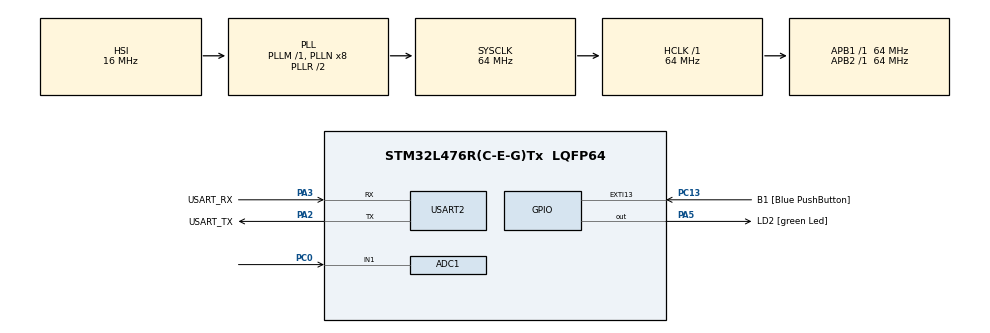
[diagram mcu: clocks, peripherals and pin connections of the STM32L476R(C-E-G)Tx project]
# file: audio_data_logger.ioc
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ADC1.Channel-0\#ChannelRegularConversion=ADC_CHANNEL_1
ADC1.ExternalTrigConv=ADC_EXTERNALTRIG_T2_TRGO
ADC1.ExternalTrigConvEdge=ADC_EXTERNALTRIGCONVEDGE_FALLING
ADC1.NbrOfConversionFlag=1
ADC1.OffsetNumber-0\#ChannelRegularConversion=ADC_OFFSET_NONE
ADC1.Rank-0\#ChannelRegularConversion=1
ADC1.Resolution=ADC_RESOLUTION_10B
ADC1.SamplingTime-0\#ChannelRegularConversion=ADC_SAMPLETIME_2CYCLES_5
ADC1.master=1
Mcu.Family=STM32L4
Mcu.Name=STM32L476R(C-E-G)Tx
Mcu.Package=LQFP64
NVIC.ADC1_2_IRQn=true\:0\:0\:false\:false\:true\:true\:true\:true
NVIC.PriorityGroup=NVIC_PRIORITYGROUP_4
PA13\ (JTMS-SWDIO).GPIO_Label=TMS
PA13\ (JTMS-SWDIO).Mode=Serial_Wire
PA13\ (JTMS-SWDIO).Signal=SYS_JTMS-SWDIO
PA14\ (JTCK-SWCLK).GPIO_Label=TCK
PA14\ (JTCK-SWCLK).Mode=Serial_Wire
PA14\ (JTCK-SWCLK).Signal=SYS_JTCK-SWCLK
PA2.GPIO_Label=USART_TX
PA2.GPIO_Mode=GPIO_MODE_AF_PP
PA2.GPIO_PuPd=GPIO_NOPULL
PA2.GPIO_Speed=GPIO_SPEED_FREQ_VERY_HIGH
PA2.Mode=Asynchronous
PA2.Signal=USART2_TX
PA3.GPIO_Label=USART_RX
PA3.GPIO_Mode=GPIO_MODE_AF_PP
PA3.GPIO_PuPd=GPIO_NOPULL
PA3.GPIO_Speed=GPIO_SPEED_FREQ_VERY_HIGH
PA3.Mode=Asynchronous
PA3.Signal=USART2_RX
PA5.GPIO_Label=LD2 [green Led]
PA5.GPIO_ModeDefaultOutputPP=GPIO_MODE_OUTPUT_PP
PA5.GPIO_PuPd=GPIO_NOPULL
PA5.GPIO_Speed=GPIO_SPEED_FREQ_LOW
PA5.Signal=GPIO_Output
PB3\ (JTDO-TRACESWO).GPIO_Label=SWO
PB3\ (JTDO-TRACESWO).Signal=SYS_JTDO-SWO
PC0.Signal=ADCx_IN1
PC13.GPIO_Label=B1 [Blue PushButton]
PC13.GPIO_ModeDefaultEXTI=GPIO_MODE_IT_FALLING
PC13.GPIO_PuPd=GPIO_NOPULL
PC13.Signal=GPXTI13
PC14-OSC32_IN\ (PC14).Mode=LSE-External-Oscillator
PC14-OSC32_IN\ (PC14).Signal=RCC_OSC32_IN
PC15-OSC32_OUT\ (PC15).Mode=LSE-External-Oscillator
PC15-OSC32_OUT\ (PC15).Signal=RCC_OSC32_OUT
PH0-OSC_IN\ (PH0).Signal=RCC_OSC_IN
PH1-OSC_OUT\ (PH1).Signal=RCC_OSC_OUT
ProjectManager.HeapSize=0x200
ProjectManager.StackSize=0x400
ProjectManager.TargetToolchain=STM32CubeIDE
RCC.ADCFreq_Value=64000000
RCC.AHBFreq_Value=64000000
RCC.APB1Freq_Value=64000000
RCC.APB1TimFreq_Value=64000000
RCC.APB2Freq_Value=64000000
RCC.APB2TimFreq_Value=64000000
RCC.CortexFreq_Value=64000000
RCC.HCLKFreq_Value=64000000
RCC.HSE_VALUE=8000000
RCC.HSI_VALUE=16000000
RCC.MSI_VALUE=4000000
RCC.PLLSourceVirtual=RCC_PLLSOURCE_HSI
RCC.PREFETCH_ENABLE=1
RCC.SYSCLKFreq_VALUE=64000000
RCC.SYSCLKSource=RCC_SYSCLKSOURCE_PLLCLK
RCC.USBFreq_Value=64000000
RCC.VCOOutputFreq_Value=128000000
SH.ADCx_IN1.0=ADC1_IN1,IN1-Single-Ended
TIM2.Period=999
TIM2.Prescaler=1
TIM2.TIM_MasterOutputTrigger=TIM_TRGO_UPDATE
USART2.VirtualMode-Asynchronous=VM_ASYNC
VP_TIM2_VS_ClockSourceINT.Mode=Internal
board=NUCLEO-L476RG

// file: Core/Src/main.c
/* USER CODE BEGIN Header */
/**
  ******************************************************************************
  * @file           : main.c
  * @brief          : Main program body
  ******************************************************************************
  * @attention
  *
  * Copyright (c) 2024 STMicroelectronics.
  * All rights reserved.
  *
  * This software is licensed under terms that can be found in the LICENSE file
  * in the root directory of this software component.
  * If no LICENSE file comes with this software, it is provided AS-IS.
  *
  ******************************************************************************
  */
/* USER CODE END Header */
#include "main.h"

/* USER CODE BEGIN Includes */
#include "stdio.h"
#include "string.h"
/* USER CODE END Includes */

/* USER CODE BEGIN PD */
#define DATA_INPUT_USER 256
#define AXIS_NUMBER 1
/* USER CODE END PD */

ADC_HandleTypeDef hadc1;

TIM_HandleTypeDef htim2;

UART_HandleTypeDef huart2;

/* USER CODE BEGIN PV */
float mic_x = 0.0;
float mic_buffer[DATA_INPUT_USER * AXIS_NUMBER] = {0};
volatile uint32_t buffer_index = 0;
/* USER CODE END PV */

void SystemClock_Config(void);
static void MX_GPIO_Init(void);
static void MX_USART2_UART_Init(void);
static void MX_ADC1_Init(void);
static void MX_TIM2_Init(void);
/* USER CODE BEGIN PFP */
void Log(void);
void fill_mic_buffer(void);
int __io_putchar(int);
/* USER CODE END PFP */

/* USER CODE BEGIN 0 */
void HAL_ADC_ConvCpltCallback(ADC_HandleTypeDef* hadc)
{
    if (hadc->Instance == ADC1)
    {
        mic_x = HAL_ADC_GetValue(&hadc1);
        mic_buffer[buffer_index] = mic_x;

        buffer_index++;
        if (buffer_index >= DATA_INPUT_USER)
        {
            buffer_index = 0;  // Reset index to 0 when it reaches the buffer size
        }
    }
}
/* USER CODE END 0 */

int main(void)
{

  /* MCU Configuration--------------------------------------------------------*/

  /* Reset of all peripherals, Initializes the Flash interface and the Systick. */
  HAL_Init();

  /* Configure the system clock */
  SystemClock_Config();

  /* Initialize all configured peripherals */
  MX_GPIO_Init();
  MX_USART2_UART_Init();
  MX_ADC1_Init();
  MX_TIM2_Init();
  /* USER CODE BEGIN 2 */
  HAL_ADC_Start_IT(&hadc1);
  HAL_TIM_Base_Start(&htim2);
  /* USER CODE END 2 */

  /* Infinite loop */
  /* USER CODE BEGIN WHILE */
  while (1)
  {
	  Log();
    /* USER CODE END WHILE */

  }
}

void SystemClock_Config(void)
{
  RCC_OscInitTypeDef RCC_OscInitStruct = {0};
  RCC_ClkInitTypeDef RCC_ClkInitStruct = {0};

  /** Configure the main internal regulator output voltage
  */
  if (HAL_PWREx_ControlVoltageScaling(PWR_REGULATOR_VOLTAGE_SCALE1) != HAL_OK)
  {
    Error_Handler();
  }

  /** Initializes the RCC Oscillators according to the specified parameters
  * in the RCC_OscInitTypeDef structure.
  */
  RCC_OscInitStruct.OscillatorType = RCC_OSCILLATORTYPE_HSI;
  RCC_OscInitStruct.HSIState = RCC_HSI_ON;
  RCC_OscInitStruct.HSICalibrationValue = RCC_HSICALIBRATION_DEFAULT;
  RCC_OscInitStruct.PLL.PLLState = RCC_PLL_ON;
  RCC_OscInitStruct.PLL.PLLSource = RCC_PLLSOURCE_HSI;
  RCC_OscInitStruct.PLL.PLLM = 1;
  RCC_OscInitStruct.PLL.PLLN = 8;
  RCC_OscInitStruct.PLL.PLLP = RCC_PLLP_DIV7;
  RCC_OscInitStruct.PLL.PLLQ = RCC_PLLQ_DIV2;
  RCC_OscInitStruct.PLL.PLLR = RCC_PLLR_DIV2;
  if (HAL_RCC_OscConfig(&RCC_OscInitStruct) != HAL_OK)
  {
    Error_Handler();
  }

  /** Initializes the CPU, AHB and APB buses clocks
  */
  RCC_ClkInitStruct.ClockType = RCC_CLOCKTYPE_HCLK|RCC_CLOCKTYPE_SYSCLK
                              |RCC_CLOCKTYPE_PCLK1|RCC_CLOCKTYPE_PCLK2;
  RCC_ClkInitStruct.SYSCLKSource = RCC_SYSCLKSOURCE_PLLCLK;
  RCC_ClkInitStruct.AHBCLKDivider = RCC_SYSCLK_DIV1;
  RCC_ClkInitStruct.APB1CLKDivider = RCC_HCLK_DIV1;
  RCC_ClkInitStruct.APB2CLKDivider = RCC_HCLK_DIV1;

  if (HAL_RCC_ClockConfig(&RCC_ClkInitStruct, FLASH_LATENCY_3) != HAL_OK)
  {
    Error_Handler();
  }
}

static void MX_ADC1_Init(void)
{

  ADC_MultiModeTypeDef multimode = {0};
  ADC_ChannelConfTypeDef sConfig = {0};

  /** Common config
  */
  hadc1.Instance = ADC1;
  hadc1.Init.ClockPrescaler = ADC_CLOCK_ASYNC_DIV2;
  hadc1.Init.Resolution = ADC_RESOLUTION_10B;
  hadc1.Init.DataAlign = ADC_DATAALIGN_RIGHT;
  hadc1.Init.ScanConvMode = ADC_SCAN_DISABLE;
  hadc1.Init.EOCSelection = ADC_EOC_SINGLE_CONV;
  hadc1.Init.LowPowerAutoWait = DISABLE;
  hadc1.Init.ContinuousConvMode = DISABLE;
  hadc1.Init.NbrOfConversion = 1;
  hadc1.Init.DiscontinuousConvMode = DISABLE;
  hadc1.Init.ExternalTrigConv = ADC_EXTERNALTRIG_T2_TRGO;
  hadc1.Init.ExternalTrigConvEdge = ADC_EXTERNALTRIGCONVEDGE_RISING;
  hadc1.Init.DMAContinuousRequests = DISABLE;
  hadc1.Init.Overrun = ADC_OVR_DATA_PRESERVED;
  hadc1.Init.OversamplingMode = DISABLE;
  if (HAL_ADC_Init(&hadc1) != HAL_OK)
  {
    Error_Handler();
  }

  /** Configure the ADC multi-mode
  */
  multimode.Mode = ADC_MODE_INDEPENDENT;
  if (HAL_ADCEx_MultiModeConfigChannel(&hadc1, &multimode) != HAL_OK)
  {
    Error_Handler();
  }

  /** Configure Regular Channel
  */
  sConfig.Channel = ADC_CHANNEL_1;
  sConfig.Rank = ADC_REGULAR_RANK_1;
  sConfig.SamplingTime = ADC_SAMPLETIME_2CYCLES_5;
  sConfig.SingleDiff = ADC_SINGLE_ENDED;
  sConfig.OffsetNumber = ADC_OFFSET_NONE;
  sConfig.Offset = 0;
  if (HAL_ADC_ConfigChannel(&hadc1, &sConfig) != HAL_OK)
  {
    Error_Handler();
  }

}

static void MX_TIM2_Init(void)
{

  TIM_ClockConfigTypeDef sClockSourceConfig = {0};
  TIM_MasterConfigTypeDef sMasterConfig = {0};

  htim2.Instance = TIM2;
  htim2.Init.Prescaler = 1;
  htim2.Init.CounterMode = TIM_COUNTERMODE_UP;
  htim2.Init.Period = 999;
  htim2.Init.ClockDivision = TIM_CLOCKDIVISION_DIV1;
  htim2.Init.AutoReloadPreload = TIM_AUTORELOAD_PRELOAD_DISABLE;
  if (HAL_TIM_Base_Init(&htim2) != HAL_OK)
  {
    Error_Handler();
  }
  sClockSourceConfig.ClockSource = TIM_CLOCKSOURCE_INTERNAL;
  if (HAL_TIM_ConfigClockSource(&htim2, &sClockSourceConfig) != HAL_OK)
  {
    Error_Handler();
  }
  sMasterConfig.MasterOutputTrigger = TIM_TRGO_UPDATE;
  sMasterConfig.MasterSlaveMode = TIM_MASTERSLAVEMODE_DISABLE;
  if (HAL_TIMEx_MasterConfigSynchronization(&htim2, &sMasterConfig) != HAL_OK)
  {
    Error_Handler();
  }

}

static void MX_USART2_UART_Init(void)
{

  huart2.Instance = USART2;
  huart2.Init.BaudRate = 115200;
  huart2.Init.WordLength = UART_WORDLENGTH_8B;
  huart2.Init.StopBits = UART_STOPBITS_1;
  huart2.Init.Parity = UART_PARITY_NONE;
  huart2.Init.Mode = UART_MODE_TX_RX;
  huart2.Init.HwFlowCtl = UART_HWCONTROL_NONE;
  huart2.Init.OverSampling = UART_OVERSAMPLING_16;
  huart2.Init.OneBitSampling = UART_ONE_BIT_SAMPLE_DISABLE;
  huart2.AdvancedInit.AdvFeatureInit = UART_ADVFEATURE_NO_INIT;
  if (HAL_UART_Init(&huart2) != HAL_OK)
  {
    Error_Handler();
  }

}

static void MX_GPIO_Init(void)
{
  GPIO_InitTypeDef GPIO_InitStruct = {0};

  /* GPIO Ports Clock Enable */
  __HAL_RCC_GPIOC_CLK_ENABLE();
  __HAL_RCC_GPIOH_CLK_ENABLE();
  __HAL_RCC_GPIOA_CLK_ENABLE();
  __HAL_RCC_GPIOB_CLK_ENABLE();

  /*Configure GPIO pin Output Level */
  HAL_GPIO_WritePin(LD2_GPIO_Port, LD2_Pin, GPIO_PIN_RESET);

  /*Configure GPIO pin : B1_Pin */
  GPIO_InitStruct.Pin = B1_Pin;
  GPIO_InitStruct.Mode = GPIO_MODE_IT_FALLING;
  GPIO_InitStruct.Pull = GPIO_NOPULL;
  HAL_GPIO_Init(B1_GPIO_Port, &GPIO_InitStruct);

  /*Configure GPIO pin : LD2_Pin */
  GPIO_InitStruct.Pin = LD2_Pin;
  GPIO_InitStruct.Mode = GPIO_MODE_OUTPUT_PP;
  GPIO_InitStruct.Pull = GPIO_NOPULL;
  GPIO_InitStruct.Speed = GPIO_SPEED_FREQ_LOW;
  HAL_GPIO_Init(LD2_GPIO_Port, &GPIO_InitStruct);

}

/* USER CODE BEGIN 4 */
int __io_putchar(int ch)
{
	HAL_UART_Transmit(&huart2,(uint8_t *)&ch , 1, HAL_MAX_DELAY);
	return ch;
}
void fill_mic_buffer()
{
	for(int i=0; i<DATA_INPUT_USER; i++)
	{

		mic_buffer[AXIS_NUMBER * i] = mic_x;

		HAL_Delay(3);
	}
}
void Log()
{
	fill_mic_buffer();
	for(int i=0; i<DATA_INPUT_USER; i++)
	{
		printf("%.2f", mic_buffer[AXIS_NUMBER * i]);
		printf(" ");
	}
	printf("\r\n");
}
/* USER CODE END 4 */

void Error_Handler(void)
{
  __disable_irq();
  while (1)
  {
  }
}
